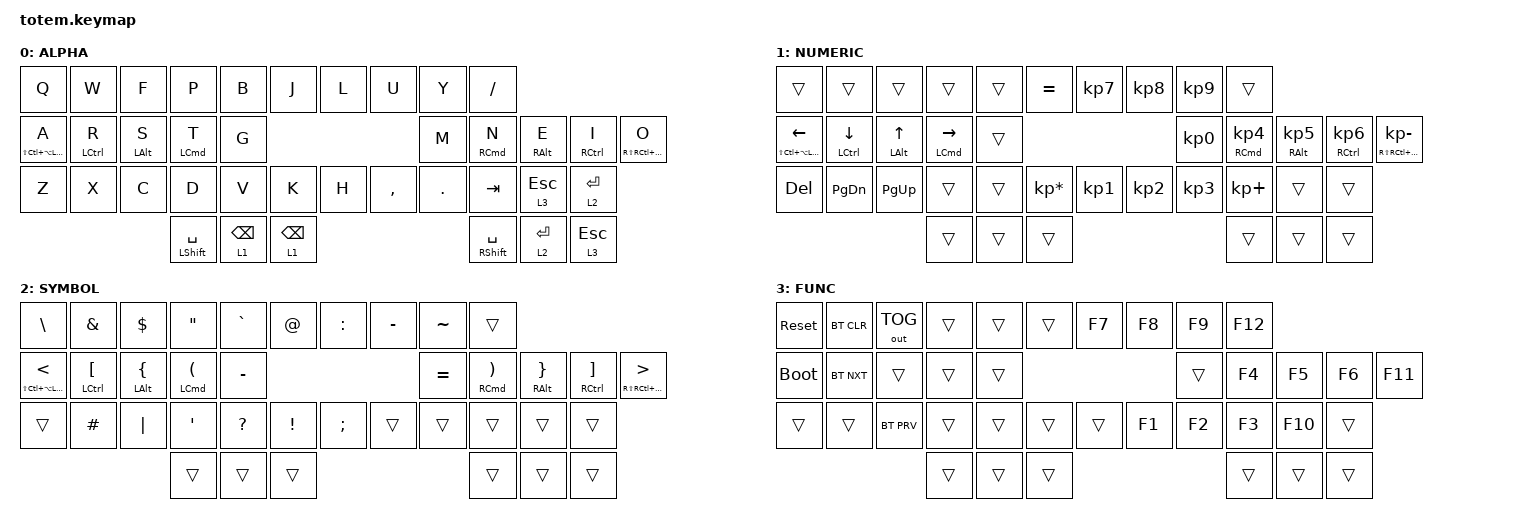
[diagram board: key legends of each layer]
//
//                                                        ▀▀▀▀▀     ▀▀▀▀▀          ▀▀█▀▀
//                                                        ▄▀▀▀▄  ▄  ▄▀▀▀▄  ▄  ▄▀▀▀▄  █  ▄▀▀▀▄
//                                                        █   █  █  █   █  █  █   █  █  █   █
//                                                         ▀▀▀   █   ▀▀▀   █   ▀▀▀   ▀   ▀▀▀
//                                                               █      ▄▄▄█▄▄▄    █   █  
//                                                               ▀      █  █  █     █▄█
//                                                             ▀▀▀▀▀    █  █  █      ▀
//                                                                      ▀  ▀  ▀
//
// ▄▄▄▄▄▄▄▄▄▄▄▄▄▄▄▄▄▄▄▄▄▄▄▄▄▄▄▄▄▄▄▄▄▄▄▄▄▄▄▄▄▄▄▄▄▄▄▄▄▄▄▄▄▄▄▄▄▄▄▄▄▄▄▄▄▄▄▄▄▄▄▄▄▄▄▄▄▄▄▄▄▄▄▄▄▄▄▄▄▄▄▄▄▄▄▄▄▄▄▄▄▄▄▄▄▄▄▄▄▄▄▄▄▄▄▄▄▄▄▄▄▄▄▄▄▄▄▄▄▄▄▄▄▄▄▄▄▄▄▄▄▄▄▄▄▄▄▄▄
       

#include <behaviors.dtsi>
#include <dt-bindings/zmk/bt.h>
#include <dt-bindings/zmk/keys.h>
#include <dt-bindings/zmk/outputs.h>

#define ALPHA 0
#define NUMERIC  1
#define SYMBOL  2
#define FUNC  3

&mt {
    quick-tap-ms = <100>;
    global-quick-tap;
    flavor = "tap-preferred";
    tapping-term-ms = <170>;
};

/ {
    combos {
        compatible = "zmk,combos";

        combo_esc {
            timeout-ms = <50>;
            key-positions = <0 1>;
            bindings = <&kp ESC>;
        };
    };

    macros {
        gif: gif {
            label = "giphy";
            compatible = "zmk,behavior-macro";
            #binding-cells = <0>;
            bindings =
                <&macro_press>,
                <&kp LSHFT>,
                <&macro_tap>,
                <&kp N2>,
                <&macro_release>,
                <&kp LSHFT>,
                <&macro_tap>,
                <&kp G &kp I &kp F>;
        };
    };

        keymap {
                compatible = "zmk,keymap";
// ▄▄▄▄▄▄▄▄▄▄▄▄▄▄▄▄▄▄▄▄▄▄▄▄▄▄▄▄▄▄▄▄▄▄▄▄▄▄▄▄▄▄▄▄▄▄▄▄▄▄▄▄▄▄▄▄▄▄▄▄▄▄▄▄▄▄▄▄▄▄▄▄▄▄▄▄▄▄▄▄▄▄▄▄▄▄▄▄▄▄▄▄▄▄▄▄▄▄▄▄▄▄▄▄▄▄▄▄▄▄▄▄▄▄▄▄▄▄▄▄▄▄▄▄▄▄▄▄▄▄▄▄▄▄▄▄▄▄▄▄▄▄▄▄▄▄▄▄▄

                base_layer {
// ┏━━━━━━━━━━━━━━━━━━━━━━━━━━━━━━━━━━━━━━━┓
label= "ALPHA"                              ;
// ┗━━━━━━━━━━━━━━━━━━━━━━━━━━━━━━━━━━━━━━━┛
//             ┏━━━━━━━━━━━┳━━━━━━━━━━━┳━━━━━━━━━━━┳━━━━━━━━━━━┳━━━━━━━━━━━┓   ┏━━━━━━━━━━━┳━━━━━━━━━━━┳━━━━━━━━━━━┳━━━━━━━━━━━┳━━━━━━━━━━━┓
//             ┃     Q     ┃     W     ┃     F     ┃     P     ┃     G     ┃   ┃     J     ┃     L     ┃     U     ┃     Y     ┃     ;     ┃
//             ┣━━━━━━━━━━━╋━━━━━━━━━━━╋━━━━━━━━━━━╋━━━━━━━━━━━╋━━━━━━━━━━━┫   ┣━━━━━━━━━━━╋━━━━━━━━━━━╋━━━━━━━━━━━╋━━━━━━━━━━━╋━━━━━━━━━━━┫
//             ┃     A     ┃     R     ┃     S     ┃     T     ┃     D     ┃   ┃     H     ┃     N     ┃     E     ┃     I     ┃     O     ┃
// ┏━━━━━━━━━━━╋━━━━━━━━━━━╋━━━━━━━━━━━╋━━━━━━━━━━━╋━━━━━━━━━━━╋━━━━━━━━━━━┫   ┣━━━━━━━━━━━╋━━━━━━━━━━━╋━━━━━━━━━━━╋━━━━━━━━━━━╋━━━━━━━━━━━╋━━━━━━━━━━━┓
// ┃           ┃     Z     ┃     X     ┃     C     ┃     V     ┃     B     ┃   ┃     K     ┃     M     ┃     ,     ┃     .     ┃     /     ┃           ┃
// ┗━━━━━━━━━━━┻━━━━━━━━━━━┻━━━━━━━━━━━╋━━━━━━━━━━━╋━━━━━━━━━━━╋━━━━━━━━━━━┫   ┣━━━━━━━━━━━╋━━━━━━━━━━━╋━━━━━━━━━━━╋━━━━━━━━━━━┻━━━━━━━━━━━┻━━━━━━━━━━━┛
//                                     ┃           ┃    TAB    ┃    SPC    ┃   ┃   ENTER   ┃   BSPC    ┃           ┃
//                                     ┗━━━━━━━━━━━┻━━━━━━━━━━━┻━━━━━━━━━━━┛   ┗━━━━━━━━━━━┻━━━━━━━━━━━┻━━━━━━━━━━━┛
 bindings = <
// ╷           ╷           ╷           ╷           ╷           ╷           ╷   ╷           ╷           ╷           ╷           ╷           ╷           ╷

                &kp Q       &kp W       &kp F       &kp P       &kp B           &kp J       &kp L       &kp U       &kp Y       &kp FSLH
                &mt LS(LC(LA(LGUI))) A       &mt LCTRL R       &mt LALT S       &mt LCMD T       &kp G           &kp M       &mt RCMD N       &mt RALT E       &mt RCTRL I       &mt RS(RC(RA(RGUI))) O
                &kp Z       &kp X       &kp C       &kp D       &kp V           &kp K       &kp H       &kp COMMA       &kp DOT       &kp TAB     &lt 3 ESC    &lt 2 ENTER
                                                    &mt LSHIFT SPACE       &lt 1 BSPC           &lt 1 BSPC       &mt RSHIFT SPACE       &lt 2 ENTER      &lt 3 ESC
                        >;
                };

// ▄▄▄▄▄▄▄▄▄▄▄▄▄▄▄▄▄▄▄▄▄▄▄▄▄▄▄▄▄▄▄▄▄▄▄▄▄▄▄▄▄▄▄▄▄▄▄▄▄▄▄▄▄▄▄▄▄▄▄▄▄▄▄▄▄▄▄▄▄▄▄▄▄▄▄▄▄▄▄▄▄▄▄▄▄▄▄▄▄▄▄▄▄▄▄▄▄▄▄▄▄▄▄▄▄▄▄▄▄▄▄▄▄▄▄▄▄▄▄▄▄▄▄▄▄▄▄▄▄▄▄▄▄▄▄▄▄▄▄▄▄▄▄▄▄▄▄▄▄


                nav_layer {
// ┏━━━━━━━━━━━━━━━━━━━━━━━━━━━━━━━━━━━━━━━┓
label= "NUMERIC"                              ;
// ┗━━━━━━━━━━━━━━━━━━━━━━━━━━━━━━━━━━━━━━━┛
//             ┏━━━━━━━━━━━┳━━━━━━━━━━━┳━━━━━━━━━━━┳━━━━━━━━━━━┳━━━━━━━━━━━┓   ┏━━━━━━━━━━━┳━━━━━━━━━━━┳━━━━━━━━━━━┳━━━━━━━━━━━┳━━━━━━━━━━━┓
//             ┃           ┃           ┃     UP    ┃           ┃     {     ┃   ┃     }     ┃     7     ┃     8     ┃     9     ┃     +     ┃
//             ┣━━━━━━━━━━━╋━━━━━━━━━━━╋━━━━━━━━━━━╋━━━━━━━━━━━╋━━━━━━━━━━━┫   ┣━━━━━━━━━━━╋━━━━━━━━━━━╋━━━━━━━━━━━╋━━━━━━━━━━━╋━━━━━━━━━━━┫
//             ┃   SHIFT   ┃   LEFT    ┃    DOWN   ┃   RIGHT   ┃     [     ┃   ┃     ]     ┃     4     ┃     5     ┃     6     ┃     -     ┃
// ┏━━━━━━━━━━━╋━━━━━━━━━━━╋━━━━━━━━━━━╋━━━━━━━━━━━╋━━━━━━━━━━━╋━━━━━━━━━━━┫   ┣━━━━━━━━━━━╋━━━━━━━━━━━╋━━━━━━━━━━━╋━━━━━━━━━━━╋━━━━━━━━━━━╋━━━━━━━━━━━┓
// ┃           ┃           ┃   P UP    ┃  C LOCK   ┃  P DOWN   ┃     (     ┃   ┃     )     ┃     1     ┃     2     ┃     3     ┃     *     ┃           ┃
// ┗━━━━━━━━━━━┻━━━━━━━━━━━┻━━━━━━━━━━━╋━━━━━━━━━━━╋━━━━━━━━━━━╋━━━━━━━━━━━┫   ┣━━━━━━━━━━━╋━━━━━━━━━━━╋━━━━━━━━━━━╋━━━━━━━━━━━┻━━━━━━━━━━━┻━━━━━━━━━━━┛
//                                     ┃           ┃    TAB    ┃    SPC    ┃   ┃    DEL    ┃     0     ┃           ┃
//                                     ┗━━━━━━━━━━━┻━━━━━━━━━━━┻━━━━━━━━━━━┛   ┗━━━━━━━━━━━┻━━━━━━━━━━━┻━━━━━━━━━━━┛
 bindings = <
// ╷           ╷           ╷           ╷           ╷           ╷           ╷   ╷           ╷           ╷           ╷           ╷           ╷           ╷

                &trans      &trans      &trans      &trans      &trans          &kp EQUAL      &kp KP_N7   &kp KP_N8   &kp KP_N9   &trans
                &mt LS(LC(LA(LGUI))) LEFT    &mt LCTRL DOWN    &mt LALT UP      &mt LCMD RIGHT   &trans          &kp KP_N0       &mt RCMD KP_N4   &mt RALT KP_N5   &mt RCTRL KP_N6   &mt RS(RC(RA(RGUI))) KP_MINUS
                &kp DEL     &kp PG_DN   &kp PG_UP   &trans      &trans          &kp KP_MULTIPLY &kp KP_N1   &kp KP_N2   &kp KP_N3   &kp KP_PLUS     &trans  &trans      
                                                    &trans      &trans          &trans          &trans      &trans      &trans
                        >;
                };

// ▄▄▄▄▄▄▄▄▄▄▄▄▄▄▄▄▄▄▄▄▄▄▄▄▄▄▄▄▄▄▄▄▄▄▄▄▄▄▄▄▄▄▄▄▄▄▄▄▄▄▄▄▄▄▄▄▄▄▄▄▄▄▄▄▄▄▄▄▄▄▄▄▄▄▄▄▄▄▄▄▄▄▄▄▄▄▄▄▄▄▄▄▄▄▄▄▄▄▄▄▄▄▄▄▄▄▄▄▄▄▄▄▄▄▄▄▄▄▄▄▄▄▄▄▄▄▄▄▄▄▄▄▄▄▄▄▄▄▄▄▄▄▄▄▄▄▄▄▄


                sim_layer {
// ┏━━━━━━━━━━━━━━━━━━━━━━━━━━━━━━━━━━━━━━━┓
label= "SYMBOL"                               ;
// ┗━━━━━━━━━━━━━━━━━━━━━━━━━━━━━━━━━━━━━━━┛
//             ┏━━━━━━━━━━━┳━━━━━━━━━━━┳━━━━━━━━━━━┳━━━━━━━━━━━┳━━━━━━━━━━━┓   ┏━━━━━━━━━━━┳━━━━━━━━━━━┳━━━━━━━━━━━┳━━━━━━━━━━━┳━━━━━━━━━━━┓
//             ┃     !     ┃     @     ┃     #     ┃     $     ┃     %     ┃   ┃     ˆ     ┃     &     ┃     Ü     ┃     '     ┃     "     ┃
//             ┣━━━━━━━━━━━╋━━━━━━━━━━━╋━━━━━━━━━━━╋━━━━━━━━━━━╋━━━━━━━━━━━┫   ┣━━━━━━━━━━━╋━━━━━━━━━━━╋━━━━━━━━━━━╋━━━━━━━━━━━╋━━━━━━━━━━━┫
//             ┃     Ä     ┃           ┃    SZ     ┃           ┃           ┃   ┃   MUTE    ┃   YEN     ┃   EURO    ┃  POUND    ┃     Ö     ┃
// ┏━━━━━━━━━━━╋━━━━━━━━━━━╋━━━━━━━━━━━╋━━━━━━━━━━━╋━━━━━━━━━━━╋━━━━━━━━━━━┫   ┣━━━━━━━━━━━╋━━━━━━━━━━━╋━━━━━━━━━━━╋━━━━━━━━━━━╋━━━━━━━━━━━╋━━━━━━━━━━━┓
// ┃           ┃  EMAIL1   ┃  EMAIL2   ┃           ┃           ┃           ┃   ┃   VOL-    ┃   VOL+    ┃   LAST    ┃   NEXT    ┃     \     ┃           ┃
// ┗━━━━━━━━━━━┻━━━━━━━━━━━┻━━━━━━━━━━━╋━━━━━━━━━━━╋━━━━━━━━━━━╋━━━━━━━━━━━┫   ┣━━━━━━━━━━━╋━━━━━━━━━━━╋━━━━━━━━━━━╋━━━━━━━━━━━┻━━━━━━━━━━━┻━━━━━━━━━━━┛
//                                     ┃           ┃    GIF    ┃    ADJ    ┃   ┃           ┃           ┃           ┃
//                                     ┗━━━━━━━━━━━┻━━━━━━━━━━━┻━━━━━━━━━━━┛   ┗━━━━━━━━━━━┻━━━━━━━━━━━┻━━━━━━━━━━━┛
 bindings = <
// ╷           ╷           ╷           ╷           ╷           ╷           ╷   ╷           ╷           ╷           ╷           ╷           ╷           ╷

                &kp BSLH    &kp AMPS    &kp DLLR    &kp DQT     &kp GRAVE       &kp AT      &kp COLON   &kp MINUS   &kp TILDE   &trans       
                &mt LS(LC(LA(LGUI))) LT      &mt LCTRL LBKT    &mt LALT LBRC    &mt LCMD LPAR       &kp MINUS       &kp EQUAL   &mt RCMD RPAR    &mt RALT RBRC    &mt RCTRL RBKT    &mt RS(RC(RA(RGUI))) GT
                &trans      &kp HASH    &kp PIPE    &kp SQT     &kp QMARK       &kp EXCL    &kp SEMI    &trans      &trans      &trans  &trans   &trans         
                                                    &trans      &trans          &trans      &trans      &trans    &trans      
                        >;
                };

// ▄▄▄▄▄▄▄▄▄▄▄▄▄▄▄▄▄▄▄▄▄▄▄▄▄▄▄▄▄▄▄▄▄▄▄▄▄▄▄▄▄▄▄▄▄▄▄▄▄▄▄▄▄▄▄▄▄▄▄▄▄▄▄▄▄▄▄▄▄▄▄▄▄▄▄▄▄▄▄▄▄▄▄▄▄▄▄▄▄▄▄▄▄▄▄▄▄▄▄▄▄▄▄▄▄▄▄▄▄▄▄▄▄▄▄▄▄▄▄▄▄▄▄▄▄▄▄▄▄▄▄▄▄▄▄▄▄▄▄▄▄▄▄▄▄▄▄▄▄


                adjust_layer {
// ┏━━━━━━━━━━━━━━━━━━━━━━━━━━━━━━━━━━━━━━━┓
label= "FUNC"                               ;
// ┗━━━━━━━━━━━━━━━━━━━━━━━━━━━━━━━━━━━━━━━┛
//             ┏━━━━━━━━━━━┳━━━━━━━━━━━┳━━━━━━━━━━━┳━━━━━━━━━━━┳━━━━━━━━━━━┓   ┏━━━━━━━━━━━┳━━━━━━━━━━━┳━━━━━━━━━━━┳━━━━━━━━━━━┳━━━━━━━━━━━┓
//             ┃   RESET   ┃ BT CLEAR  ┃  OUT TOG  ┃           ┃           ┃   ┃           ┃    F7     ┃    F8     ┃    F9     ┃    F12    ┃
//             ┣━━━━━━━━━━━╋━━━━━━━━━━━╋━━━━━━━━━━━╋━━━━━━━━━━━╋━━━━━━━━━━━┫   ┣━━━━━━━━━━━╋━━━━━━━━━━━╋━━━━━━━━━━━╋━━━━━━━━━━━╋━━━━━━━━━━━┫
//             ┃ BOOTLOAD  ┃ BT NEXT   ┃           ┃           ┃           ┃   ┃           ┃    F4     ┃    F5     ┃    F6     ┃    F11    ┃
// ┏━━━━━━━━━━━╋━━━━━━━━━━━╋━━━━━━━━━━━╋━━━━━━━━━━━╋━━━━━━━━━━━╋━━━━━━━━━━━┫   ┣━━━━━━━━━━━╋━━━━━━━━━━━╋━━━━━━━━━━━╋━━━━━━━━━━━╋━━━━━━━━━━━╋━━━━━━━━━━━┓
// ┃           ┃           ┃ BT PREV   ┃           ┃           ┃           ┃   ┃           ┃    F1     ┃    F2     ┃    F3     ┃    F10    ┃           ┃
// ┗━━━━━━━━━━━┻━━━━━━━━━━━┻━━━━━━━━━━━╋━━━━━━━━━━━╋━━━━━━━━━━━╋━━━━━━━━━━━┫   ┣━━━━━━━━━━━╋━━━━━━━━━━━╋━━━━━━━━━━━╋━━━━━━━━━━━┻━━━━━━━━━━━┻━━━━━━━━━━━┛
//                                     ┃           ┃           ┃           ┃   ┃           ┃           ┃           ┃
//                                     ┗━━━━━━━━━━━┻━━━━━━━━━━━┻━━━━━━━━━━━┛   ┗━━━━━━━━━━━┻━━━━━━━━━━━┻━━━━━━━━━━━┛
 bindings = <
// ╷           ╷           ╷           ╷           ╷           ╷           ╷   ╷           ╷           ╷           ╷           ╷           ╷           ╷

                &sys_reset  &bt BT_CLR &out OUT_TOG &trans      &trans          &trans      &kp F7      &kp F8      &kp F9      &kp F12
                &bootloader &bt BT_NXT  &trans      &trans      &trans          &trans      &kp F4      &kp F5      &kp F6      &kp F11  
    &trans      &trans      &bt BT_PRV  &trans      &trans      &trans          &trans      &kp F1      &kp F2      &kp F3      &kp F10     &trans         
                                        &trans      &trans      &trans          &trans      &trans      &trans      
                        >;
                };
        };
};
